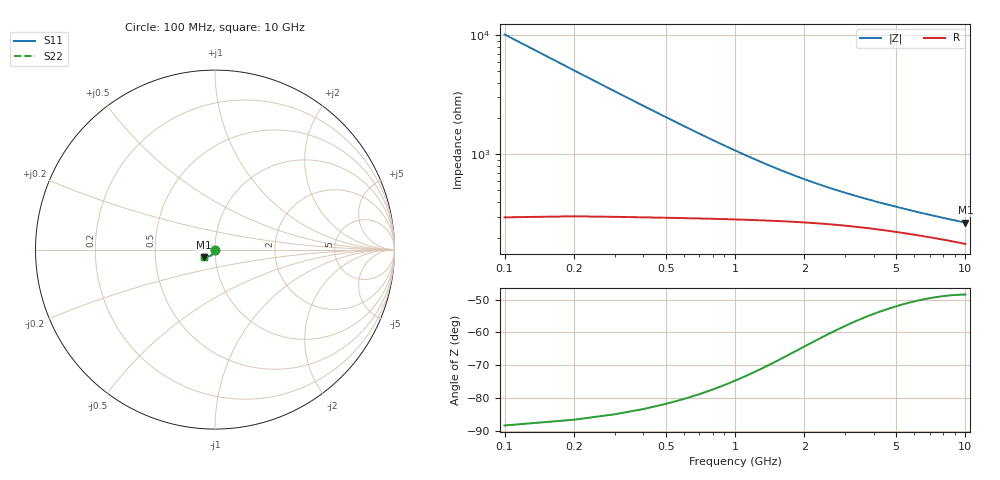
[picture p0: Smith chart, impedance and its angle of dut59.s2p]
! Touchstone file exported from HFSS 2024.1.0
!  File:  C:/UserFiles/LocalFiles/RDL_TSV_Batchsim/temp_TSV1_59_1778749225.aedt
!  Generated:  05:04:04 PM May 14, 2026
!  Design:  TSV1
!  Project:  temp_TSV1_59_1778749225
!  Setup:  Setup1
!  Solution:  Sweep
! Variables:
!  dtsv = 20.09um
!  hbump = 3um
!  htsv = 64.42um
!  lrdl = 252.1521522um
!  p = 40
!  p1 = 52.06um
!  t = 500um
!  trdl = 3um
!  wrdl = 24.89489489um
# GHz S MA R 50.000000
! Terminal data exported
! Port[1] = TSV22_T1
! Port[2] = TSV22_T2
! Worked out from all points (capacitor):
!   100 points, 100 MHz to 10 GHz, reference 50 ohm
!   read as one part in shunt: C = 157 fF near 100 MHz
!   lowest |Z| = 268 ohm at 10 GHz (marker M1)
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0.1  0.00221 -90.2  0.9999 -0.2  0.9999 -0.2  0.00221 -90.2
! Gamma 0 0 0 0
! Port Impedance 50 0 50 0
0.2  0.004423 -93.1  0.9996 -0.3  0.9996 -0.3  0.004423 -93.1
0.3  0.006622 -95.2  0.9992 -0.5  0.9992 -0.5  0.006622 -95.2
0.4  0.008792 -97.2  0.9987 -0.6  0.9987 -0.6  0.008792 -97.2
0.5  0.01092 -99.1  0.9981 -0.8  0.9981 -0.8  0.01092 -99.1
0.6  0.01301 -100.9  0.9973 -0.9  0.9973 -0.9  0.01301 -100.9
0.7  0.01504 -102.7  0.9964 -1.0  0.9964 -1.0  0.01504 -102.7
0.8  0.01702 -104.4  0.9955 -1.2  0.9955 -1.2  0.01702 -104.4
0.9  0.01893 -106.0  0.9945 -1.3  0.9945 -1.3  0.01893 -106.0
1.1  0.02256 -109.2  0.9924 -1.5  0.9924 -1.5  0.02256 -109.2
1.4  0.0275 -113.4  0.9889 -1.8  0.9889 -1.8  0.0275 -113.4
1.6  0.03047 -116.0  0.9866 -2.0  0.9866 -2.0  0.03047 -116.0
1.8  0.03318 -118.3  0.9842 -2.2  0.9842 -2.2  0.03318 -118.3
2.1  0.03684 -121.4  0.9808 -2.4  0.9808 -2.4  0.03684 -121.4
2.5  0.04106 -124.9  0.9766 -2.6  0.9766 -2.6  0.04106 -124.9
2.9  0.04467 -127.8  0.9728 -2.8  0.9728 -2.8  0.04467 -127.8
3.4  0.04854 -130.8  0.9686 -3.0  0.9686 -3.0  0.04854 -130.8
4.2  0.05365 -134.4  0.9628 -3.3  0.9628 -3.3  0.05366 -134.4
5.1  0.05834 -137.5  0.9575 -3.6  0.9575 -3.6  0.05834 -137.5
6.7  0.06482 -141.4  0.9501 -4.1  0.9501 -4.1  0.06482 -141.4
8.4  0.06999 -144.2  0.9441 -4.6  0.9441 -4.6  0.06999 -144.2
10  0.07382 -146.1  0.9398 -5.0  0.9398 -5.0  0.07382 -146.1
